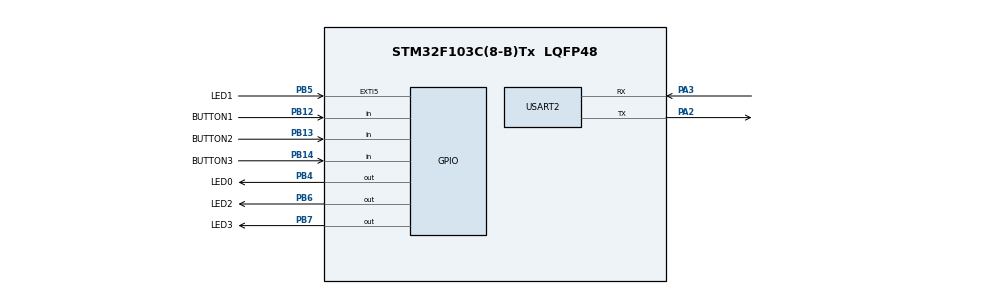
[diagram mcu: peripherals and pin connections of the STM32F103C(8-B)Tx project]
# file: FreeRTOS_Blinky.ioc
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Mcu.Family=STM32F1
Mcu.Name=STM32F103C(8-B)Tx
Mcu.Package=LQFP48
NVIC.PriorityGroup=NVIC_PRIORITYGROUP_4
NVIC.USART2_IRQn=true\:0\:0\:false\:false\:true\:true\:true\:true
PA2.Mode=Asynchronous
PA2.Signal=USART2_TX
PA3.Mode=Asynchronous
PA3.Signal=USART2_RX
PB12.GPIO_Label=BUTTON1
PB12.GPIO_PuPd=GPIO_PULLUP
PB12.Signal=GPIO_Input
PB13.GPIO_Label=BUTTON2
PB13.GPIO_PuPd=GPIO_PULLUP
PB13.Signal=GPIO_Input
PB14.GPIO_Label=BUTTON3
PB14.GPIO_PuPd=GPIO_PULLUP
PB14.Signal=GPIO_Input
PB4.GPIO_Label=LED0
PB4.Signal=GPIO_Output
PB5.GPIO_Label=LED1
PB5.Signal=GPXTI5
PB6.GPIO_Label=LED2
PB6.Signal=GPIO_Output
PB7.GPIO_Label=LED3
PB7.Signal=GPIO_Output
ProjectManager.HeapSize=0x200
ProjectManager.StackSize=0x400
ProjectManager.TargetToolchain=STM32CubeIDE
RCC.APB1Freq_Value=8000000
RCC.APB2Freq_Value=8000000
USART2.VirtualMode=VM_ASYNC
board=custom

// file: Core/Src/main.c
/* USER CODE BEGIN Header */
/**
  ******************************************************************************
  * @file           : main.c
  * @brief          : Main program body
  ******************************************************************************
  * @attention
  *
  * Copyright (c) 2023 STMicroelectronics.
  * All rights reserved.
  *
  * This software is licensed under terms that can be found in the LICENSE file
  * in the root directory of this software component.
  * If no LICENSE file comes with this software, it is provided AS-IS.
  *
  ******************************************************************************
  */
/* USER CODE END Header */
#include "main.h"

/* USER CODE BEGIN Includes */
#include <stdbool.h>
#include "FreeRTOS.h"
#include "task.h"
#include "uartstdio.h"
/* USER CODE END Includes */

/* USER CODE BEGIN PV */
TaskHandle_t   status_task_Handle;

static void Status_Led_Task( void *pvParameters );
static void Switch_Task( void *pvParameters );
/* USER CODE END PV */

void SystemClock_Config(void);
static void MX_GPIO_Init(void);
static void MX_USART2_UART_Init(void);

int main(void)
{

  /* MCU Configuration--------------------------------------------------------*/

  /* Reset of all peripherals, Initializes the Flash interface and the Systick. */
  LL_APB2_GRP1_EnableClock(LL_APB2_GRP1_PERIPH_AFIO);
  LL_APB1_GRP1_EnableClock(LL_APB1_GRP1_PERIPH_PWR);

  /* System interrupt init*/
  NVIC_SetPriorityGrouping(NVIC_PRIORITYGROUP_4);

  /* SysTick_IRQn interrupt configuration */
  NVIC_SetPriority(SysTick_IRQn, NVIC_EncodePriority(NVIC_GetPriorityGrouping(),15, 0));

  /* Configure the system clock */
  SystemClock_Config();

  /* Initialize all configured peripherals */
  MX_GPIO_Init();
  MX_USART2_UART_Init();
  /* USER CODE BEGIN 2 */
  UARTStdioConfig(USART2,true);
  xTaskCreate(Status_Led_Task, "statusLEDTask",configMINIMAL_STACK_SIZE, NULL, 1, &status_task_Handle);
  xTaskCreate(Switch_Task, "switchTask",configMINIMAL_STACK_SIZE, NULL, 1, NULL);

  /* USER CODE END 2 */

  /* Infinite loop */
  /* USER CODE BEGIN WHILE */
  vTaskStartScheduler();
  while (1)
  {
    /* USER CODE END WHILE */

  }
}

void SystemClock_Config(void)
{
  LL_FLASH_SetLatency(LL_FLASH_LATENCY_0);
  while(LL_FLASH_GetLatency()!= LL_FLASH_LATENCY_0)
  {
  }
  LL_RCC_HSI_SetCalibTrimming(16);
  LL_RCC_HSI_Enable();

   /* Wait till HSI is ready */
  while(LL_RCC_HSI_IsReady() != 1)
  {

  }
  LL_RCC_SetAHBPrescaler(LL_RCC_SYSCLK_DIV_1);
  LL_RCC_SetAPB1Prescaler(LL_RCC_APB1_DIV_1);
  LL_RCC_SetAPB2Prescaler(LL_RCC_APB2_DIV_1);
  LL_RCC_SetSysClkSource(LL_RCC_SYS_CLKSOURCE_HSI);

   /* Wait till System clock is ready */
  while(LL_RCC_GetSysClkSource() != LL_RCC_SYS_CLKSOURCE_STATUS_HSI)
  {

  }
  LL_Init1msTick(8000000);
  LL_SetSystemCoreClock(8000000);
}

static void MX_USART2_UART_Init(void)
{

  LL_USART_InitTypeDef USART_InitStruct = {0};

  LL_GPIO_InitTypeDef GPIO_InitStruct = {0};

  /* Peripheral clock enable */
  LL_APB1_GRP1_EnableClock(LL_APB1_GRP1_PERIPH_USART2);

  LL_APB2_GRP1_EnableClock(LL_APB2_GRP1_PERIPH_GPIOA);
  /**USART2 GPIO Configuration
  PA2   ------> USART2_TX
  PA3   ------> USART2_RX
  */
  GPIO_InitStruct.Pin = LL_GPIO_PIN_2;
  GPIO_InitStruct.Mode = LL_GPIO_MODE_ALTERNATE;
  GPIO_InitStruct.Speed = LL_GPIO_SPEED_FREQ_HIGH;
  GPIO_InitStruct.OutputType = LL_GPIO_OUTPUT_PUSHPULL;
  LL_GPIO_Init(GPIOA, &GPIO_InitStruct);

  GPIO_InitStruct.Pin = LL_GPIO_PIN_3;
  GPIO_InitStruct.Mode = LL_GPIO_MODE_FLOATING;
  LL_GPIO_Init(GPIOA, &GPIO_InitStruct);

  /* USART2 interrupt Init */
  NVIC_SetPriority(USART2_IRQn, NVIC_EncodePriority(NVIC_GetPriorityGrouping(),0, 0));
  NVIC_EnableIRQ(USART2_IRQn);

  USART_InitStruct.BaudRate = 115200;
  USART_InitStruct.DataWidth = LL_USART_DATAWIDTH_8B;
  USART_InitStruct.StopBits = LL_USART_STOPBITS_1;
  USART_InitStruct.Parity = LL_USART_PARITY_NONE;
  USART_InitStruct.TransferDirection = LL_USART_DIRECTION_TX_RX;
  USART_InitStruct.HardwareFlowControl = LL_USART_HWCONTROL_NONE;
  USART_InitStruct.OverSampling = LL_USART_OVERSAMPLING_16;
  LL_USART_Init(USART2, &USART_InitStruct);
  LL_USART_ConfigAsyncMode(USART2);
  LL_USART_Enable(USART2);

}

static void MX_GPIO_Init(void)
{
  LL_EXTI_InitTypeDef EXTI_InitStruct = {0};
  LL_GPIO_InitTypeDef GPIO_InitStruct = {0};

  /* GPIO Ports Clock Enable */
  LL_APB2_GRP1_EnableClock(LL_APB2_GRP1_PERIPH_GPIOA);
  LL_APB2_GRP1_EnableClock(LL_APB2_GRP1_PERIPH_GPIOB);

  /**/
  LL_GPIO_ResetOutputPin(GPIOB, LED0_Pin|LED2_Pin|LED3_Pin);

  /**/
  GPIO_InitStruct.Pin = BUTTON1_Pin|BUTTON2_Pin|BUTTON3_Pin;
  GPIO_InitStruct.Mode = LL_GPIO_MODE_INPUT;
  GPIO_InitStruct.Pull = LL_GPIO_PULL_UP;
  LL_GPIO_Init(GPIOB, &GPIO_InitStruct);

  /**/
  GPIO_InitStruct.Pin = LED0_Pin|LED2_Pin|LED3_Pin;
  GPIO_InitStruct.Mode = LL_GPIO_MODE_OUTPUT;
  GPIO_InitStruct.Speed = LL_GPIO_SPEED_FREQ_LOW;
  GPIO_InitStruct.OutputType = LL_GPIO_OUTPUT_PUSHPULL;
  LL_GPIO_Init(GPIOB, &GPIO_InitStruct);

  /**/
  LL_GPIO_AF_SetEXTISource(LL_GPIO_AF_EXTI_PORTB, LL_GPIO_AF_EXTI_LINE5);

  /**/
  EXTI_InitStruct.Line_0_31 = LL_EXTI_LINE_5;
  EXTI_InitStruct.LineCommand = ENABLE;
  EXTI_InitStruct.Mode = LL_EXTI_MODE_IT;
  EXTI_InitStruct.Trigger = LL_EXTI_TRIGGER_RISING;
  LL_EXTI_Init(&EXTI_InitStruct);

  /**/
  LL_GPIO_SetPinMode(LED1_GPIO_Port, LED1_Pin, LL_GPIO_MODE_FLOATING);

}

/* USER CODE BEGIN 4 */
static void Status_Led_Task( void *pvParameters )
{
	while(1)
	{

		LL_GPIO_TogglePin(LED0_GPIO_Port,LED3_Pin);
		UARTprintf("turn on LED\n");
		vTaskDelay(1000);

	}
}
static void Switch_Task( void *pvParameters )
{
	uint32_t	buttons_val;
	uint32_t	pressed_key;
	while(1)
	{
		if (LL_GPIO_IsInputPinSet(BUTTON1_GPIO_Port, BUTTON3_Pin)) LL_GPIO_SetOutputPin(LED0_GPIO_Port, LED2_Pin);
		else
			{
				UARTprintf("Button Pressed\n");
				LL_GPIO_ResetOutputPin(LED0_GPIO_Port, LED2_Pin);
			}
		vTaskDelay(100);

	}
}
/* USER CODE END 4 */

void Error_Handler(void)
{
  __disable_irq();
  while (1)
  {
  }
}
